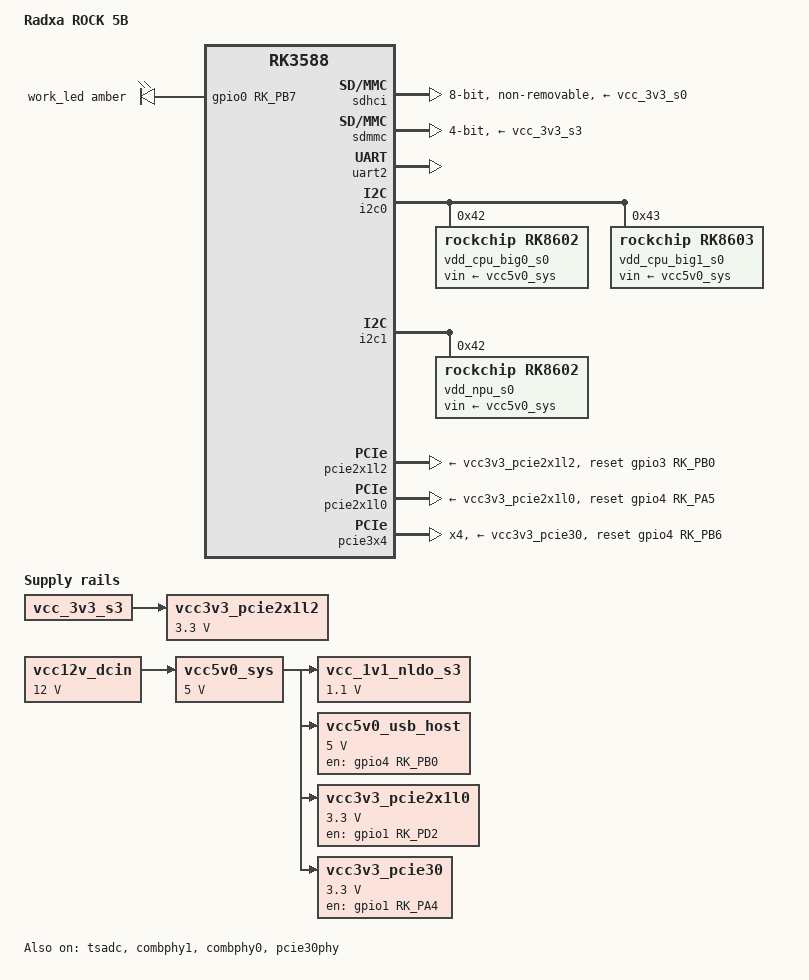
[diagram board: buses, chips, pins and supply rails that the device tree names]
// SPDX-License-Identifier: (GPL-2.0+ OR MIT)
/*
 * Copyright (c) 2021 Rockchip Electronics Co., Ltd.
 * Copyright (c) 2022, Chalkin Deng <chalkin@yeah.net>
 */

/dts-v1/;

#include <dt-bindings/pinctrl/rockchip.h>
#include <dt-bindings/gpio/gpio.h>
#include <dt-bindings/leds/common.h>
#include <dt-bindings/interrupt-controller/irq.h>
#include "rk3588.dtsi"
#include "rk3588-rk806-single.dtsi"

/ {
	model = "Radxa ROCK 5B";
	compatible = "radxa,rock-5b", "rockchip,rk3588";

	aliases {
		mmc0 = &sdhci;
		mmc1 = &sdmmc;
	};

	chosen {
		stdout-path = "serial2:1500000n8";
	};

	leds {
		compatible = "gpio-leds";
		work_led: led-0 {
			gpios = <&gpio0 RK_PB7 GPIO_ACTIVE_HIGH>;
			linux,default-trigger = "heartbeat";
			function = LED_FUNCTION_STATUS;
			color = <LED_COLOR_ID_AMBER>;
		};
	};

	vcc12v_dcin: vcc12v-dcin {
		compatible = "regulator-fixed";
		regulator-name = "vcc12v_dcin";
		regulator-always-on;
		regulator-boot-on;
		regulator-min-microvolt = <12000000>;
		regulator-max-microvolt = <12000000>;
	};

	vcc5v0_sys: vcc5v0-sys {
		compatible = "regulator-fixed";
		regulator-name = "vcc5v0_sys";
		regulator-always-on;
		regulator-boot-on;
		regulator-min-microvolt = <5000000>;
		regulator-max-microvolt = <5000000>;
		vin-supply = <&vcc12v_dcin>;
	};


	vcc_1v1_nldo_s3: vcc-1v1-nldo-s3 {
		compatible = "regulator-fixed";
		regulator-name = "vcc_1v1_nldo_s3";
		regulator-always-on;
		regulator-boot-on;
		regulator-min-microvolt = <1100000>;
		regulator-max-microvolt = <1100000>;
		vin-supply = <&vcc5v0_sys>;
	};

	vcc5v0_usb_host: vcc5v0-usb-host {
		compatible = "regulator-fixed";
		regulator-name = "vcc5v0_usb_host";
		regulator-boot-on;
		regulator-always-on;
		regulator-min-microvolt = <5000000>;
		regulator-max-microvolt = <5000000>;
		enable-active-high;
		gpio = <&gpio4 RK_PB0 GPIO_ACTIVE_HIGH>;
		vin-supply = <&vcc5v0_sys>;
		pinctrl-names = "default";
		pinctrl-0 = <&vcc5v0_usb_host_en_h>;
	};

	vcc3v3_pcie2x1l2: vcc3v3-pcie2x1l2 {
		compatible = "regulator-fixed";
		regulator-name = "vcc3v3_pcie2x1l2";
		regulator-min-microvolt = <3300000>;
		regulator-max-microvolt = <3300000>;
		startup-delay-us = <5000>;
		vin-supply = <&vcc_3v3_s3>;
	};

	vcc3v3_pcie2x1l0: vcc3v3-pcie2x1l0 {
		compatible = "regulator-fixed";
		regulator-name = "vcc3v3_pcie2x1l0";
		regulator-min-microvolt = <3300000>;
		regulator-max-microvolt = <3300000>;
		enable-active-high;
		gpios = <&gpio1 RK_PD2 GPIO_ACTIVE_HIGH>;
		startup-delay-us = <50000>;
		vin-supply = <&vcc5v0_sys>;
	};


	vcc3v3_pcie30: vcc3v3-pcie30-regulator {
		compatible = "regulator-fixed";
		regulator-name = "vcc3v3_pcie30";
		regulator-min-microvolt = <3300000>;
		regulator-max-microvolt = <3300000>;
		enable-active-high;
		pinctrl-0 = <&pcie30x4_pwren_h>;
		pinctrl-names = "default";
		gpios = <&gpio1 RK_PA4 GPIO_ACTIVE_HIGH>;
		startup-delay-us = <5000>;
		vin-supply = <&vcc5v0_sys>;
	};

};

&cpu_l0 {
	cpu-supply = <&vdd_cpu_lit_s0>;
	mem-supply = <&vdd_cpu_lit_mem_s0>;
};

&cpu_b0 {
	cpu-supply = <&vdd_cpu_big0_s0>;
	mem-supply = <&vdd_cpu_big0_mem_s0>;
};

&cpu_b2 {
	cpu-supply = <&vdd_cpu_big1_s0>;
	mem-supply = <&vdd_cpu_big1_mem_s0>;
};

&tsadc {
	status = "okay";
};

&gpu {
	mali-supply = <&vdd_gpu_s0>;
	mem-supply = <&vdd_gpu_mem_s0>;
	status = "disabled";
};


&sdhci {
	bus-width = <8>;
	no-sdio;
	no-sd;
	non-removable;
	max-frequency = <150000000>;
	mmc-hs200-1_8v;
	// mmc-hs400-1_8v;
	// mmc-hs400-enhanced-strobe;
	vmmc-supply = <&vcc_3v3_s0>;
	vqmmc-supply = <&vcc_1v8_s0>;
	pinctrl-names = "default";
	pinctrl-0 = <&emmc_bus8
		     &emmc_clk
		     &emmc_cmd
		     &emmc_data_strobe
		     &emmc_rstnout>;
	status = "okay";
};

&sdmmc {
	max-frequency = <150000000>;
	no-sdio;
	no-mmc;
	bus-width = <4>;
	cap-sd-highspeed;
	sd-uhs-sdr104;
	disable-wp;
	vmmc-supply = <&vcc_3v3_s3>;
	vqmmc-supply = <&vccio_sd_s0>;
	pinctrl-names = "default";
	pinctrl-0 = <&sdmmc_bus4 &sdmmc_clk &sdmmc_cmd &sdmmc_det>;
	status = "okay";
};

&uart2 {
	pinctrl-names = "default";
	pinctrl-0 = <&uart2m0_xfer>;
	status = "okay";
};



&i2c0 {
	status = "okay";

	vdd_cpu_big0_s0: vdd_cpu_big0_mem_s0: rk8602@42 {
		compatible = "rockchip,rk8602";
		reg = <0x42>;
		vin-supply = <&vcc5v0_sys>;
		regulator-compatible = "rk860x-reg";
		regulator-name = "vdd_cpu_big0_s0";
		regulator-min-microvolt = <550000>;
		regulator-max-microvolt = <1050000>;
		regulator-ramp-delay = <2300>;
		rockchip,suspend-voltage-selector = <1>;
		regulator-boot-on;
		regulator-always-on;
		regulator-state-mem {
			regulator-off-in-suspend;
		};
	};

	vdd_cpu_big1_s0: vdd_cpu_big1_mem_s0: rk8603@43 {
		compatible = "rockchip,rk8603";
		reg = <0x43>;
		vin-supply = <&vcc5v0_sys>;
		regulator-compatible = "rk860x-reg";
		regulator-name = "vdd_cpu_big1_s0";
		regulator-min-microvolt = <550000>;
		regulator-max-microvolt = <1050000>;
		regulator-ramp-delay = <2300>;
		rockchip,suspend-voltage-selector = <1>;
		regulator-boot-on;
		regulator-always-on;
		regulator-state-mem {
			regulator-off-in-suspend;
		};
	};
};

&i2c1 {
	status = "okay";

	vdd_npu_s0: vdd_npu_mem_s0: rk8602@42 {
		compatible = "rockchip,rk8602";
		reg = <0x42>;
		vin-supply = <&vcc5v0_sys>;
		regulator-compatible = "rk860x-reg";
		regulator-name = "vdd_npu_s0";
		regulator-min-microvolt = <550000>;
		regulator-max-microvolt = <950000>;
		regulator-ramp-delay = <2300>;
		rockchip,suspend-voltage-selector = <1>;
		regulator-boot-on;
		regulator-always-on;
		regulator-state-mem {
			regulator-off-in-suspend;
		};
	};
};


&combphy1 {
	rockchip,ext-refclk;
	status = "okay";
};

&combphy0 {
	status = "okay";
};
/*
 RTL8125 ?
*/
&pcie2x1l2 {
	reset-gpios = <&gpio3 RK_PB0 GPIO_ACTIVE_HIGH>;
	vpcie3v3-supply = <&vcc3v3_pcie2x1l2>;
	status = "okay";
};
/**
  wifi ?
**/
&pcie2x1l0 {
	reset-gpios = <&gpio4 RK_PA5 GPIO_ACTIVE_HIGH>;
	vpcie3v3-supply = <&vcc3v3_pcie2x1l0>;
	status = "okay";
};
&combphy2 {
	rockchip,ext-refclk;
	status = "disabled";
};



&pcie30phy {
	data-lanes = <1 1 1 1>;
	status = "okay";
};

&pcie3x4 {
	/* PCIe 3.0 x4 open-ended slot */
	num-lanes = <4>;
	reset-gpios = <&gpio4 RK_PB6 GPIO_ACTIVE_HIGH>;
	vpcie3v3-supply = <&vcc3v3_pcie30>;
	status = "okay";
};

&pinctrl {


	pcie30x4 {
		pcie30x4_pwren_h: pcie30x4-pwren-h {
			rockchip,pins = <1 RK_PA4 RK_FUNC_GPIO &pcfg_pull_none>;
		};
	};

	usb {
		vcc5v0_usb_host_en_h: vcc5v0-usb-host-en-h {
			rockchip,pins = <4 RK_PB0 RK_FUNC_GPIO &pcfg_pull_none>;
		};
	};



	wireless-bluetooth {
		bt_pwren_gpio: bt-pwren-gpio {
			rockchip,pins = <3 RK_PA6 RK_FUNC_GPIO &pcfg_pull_none>;
		};

		bt_wake_gpio: bt-wake-gpio {
			rockchip,pins = <3 RK_PA1 RK_FUNC_GPIO &pcfg_pull_none>;
		};

		bt_irq_gpio: bt-irq-gpio {
			rockchip,pins = <3 RK_PA0 RK_FUNC_GPIO &pcfg_pull_down>;
		};
	};

};
